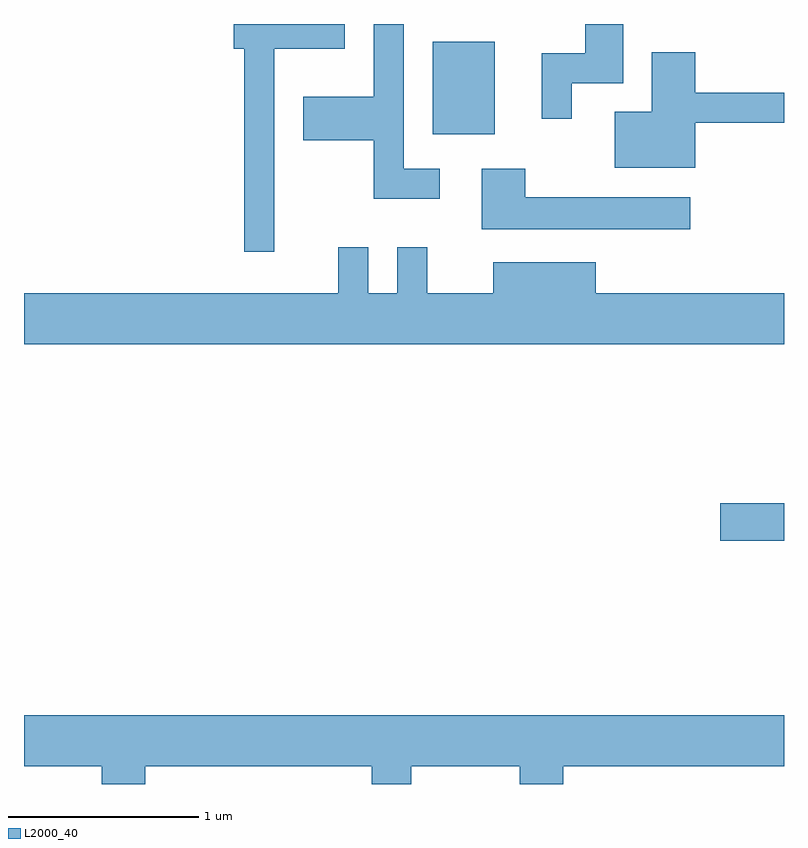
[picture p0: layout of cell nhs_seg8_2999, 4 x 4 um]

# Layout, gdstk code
import gdstk
lib = gdstk.Library(unit=1e-6, precision=1e-09)
def R(c, l, rs):  # rectangles x0, y0, x1, y1
    for r in rs: c.add(gdstk.rectangle(r[:2], r[2:], *l))
def P(c, l, *ps):  # polygons
    for p in ps: c.add(gdstk.Polygon(p, *l))
L2000_40 = (2000, 40)

nhs_seg8_2999 = lib.new_cell('nhs_seg8_2999')
R(nhs_seg8_2999, L2000_40, [(279.276,1817.621,279.611,1817.819), (277.761,1819.761,278.089,1820.249)])
P(nhs_seg8_2999, L2000_40, [(276.929,1820.211),(277.299,1820.211),(277.299,1820.342),(276.716,1820.342),(276.716,1820.211),(276.771,1820.211),(276.771,1819.143),(276.929,1819.143)],
  [(277.798,1819.579),(277.609,1819.579),(277.609,1820.342),(277.451,1820.342),(277.451,1819.959),(277.081,1819.959),(277.081,1819.731),(277.451,1819.731),(277.451,1819.421),(277.798,1819.421)],
  [(278.494,1820.031),(278.764,1820.031),(278.764,1820.342),(278.566,1820.342),(278.566,1820.189),(278.336,1820.189),(278.336,1819.843),(278.494,1819.843)],
  [(279.144,1819.821),(279.611,1819.821),(279.611,1819.979),(279.144,1819.979),(279.144,1820.194),(278.916,1820.194),(278.916,1819.879),(278.721,1819.879),(278.721,1819.586),(279.144,1819.586)],
  [(279.118,1819.429),(278.249,1819.429),(278.249,1819.579),(278.021,1819.579),(278.021,1819.261),(279.118,1819.261)],
  [(279.611,1818.924),(278.619,1818.924),(278.619,1819.089),(278.081,1819.089),(278.081,1818.924),(277.734,1818.924),(277.734,1819.168),(277.576,1819.168),(277.576,1818.924),(277.424,1818.924),(277.424,1819.168),(277.266,1819.168),(277.266,1818.924),(275.611,1818.924),(275.611,1818.656),(279.611,1818.656)],
  [(276.249,1816.436),(277.441,1816.436),(277.441,1816.342),(277.649,1816.342),(277.649,1816.436),(278.221,1816.436),(278.221,1816.342),(278.449,1816.342),(278.449,1816.436),(279.611,1816.436),(279.611,1816.704),(275.611,1816.704),(275.611,1816.436),(276.021,1816.436),(276.021,1816.342),(276.249,1816.342)])

lib.write_gds('nhs_seg8_2999.gds')
